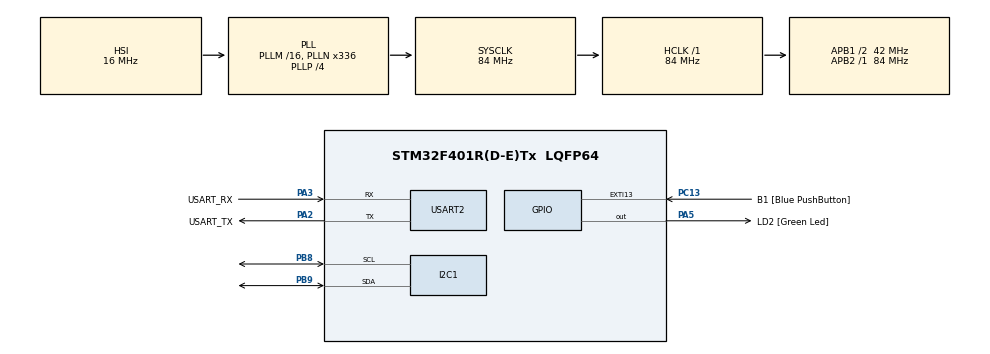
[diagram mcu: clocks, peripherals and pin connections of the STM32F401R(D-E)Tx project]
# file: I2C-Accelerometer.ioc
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Mcu.Family=STM32F4
Mcu.Name=STM32F401R(D-E)Tx
Mcu.Package=LQFP64
NVIC.PriorityGroup=NVIC_PRIORITYGROUP_0
PA13.GPIO_Label=TMS
PA13.Mode=Serial_Wire
PA13.Signal=SYS_JTMS-SWDIO
PA14.GPIO_Label=TCK
PA14.Mode=Serial_Wire
PA14.Signal=SYS_JTCK-SWCLK
PA2.GPIO_Label=USART_TX
PA2.GPIO_Mode=GPIO_MODE_AF_PP
PA2.GPIO_PuPd=GPIO_NOPULL
PA2.GPIO_Speed=GPIO_SPEED_FREQ_LOW
PA2.Mode=Asynchronous
PA2.Signal=USART2_TX
PA3.GPIO_Label=USART_RX
PA3.GPIO_Mode=GPIO_MODE_AF_PP
PA3.GPIO_PuPd=GPIO_NOPULL
PA3.GPIO_Speed=GPIO_SPEED_FREQ_LOW
PA3.Mode=Asynchronous
PA3.Signal=USART2_RX
PA5.GPIO_Label=LD2 [Green Led]
PA5.GPIO_Mode=GPIO_MODE_OUTPUT_PP
PA5.GPIO_PuPd=GPIO_NOPULL
PA5.GPIO_Speed=GPIO_SPEED_FREQ_LOW
PA5.Signal=GPIO_Output
PB3.GPIO_Label=SWO
PB3.Signal=SYS_JTDO-SWO
PB8.Mode=I2C
PB8.Signal=I2C1_SCL
PB9.Mode=I2C
PB9.Signal=I2C1_SDA
PC13-ANTI_TAMP.GPIO_Label=B1 [Blue PushButton]
PC13-ANTI_TAMP.GPIO_ModeDefaultEXTI=GPIO_MODE_IT_FALLING
PC13-ANTI_TAMP.GPIO_PuPd=GPIO_NOPULL
PC13-ANTI_TAMP.Signal=GPXTI13
PC14-OSC32_IN.Mode=LSE-External-Oscillator
PC14-OSC32_IN.Signal=RCC_OSC32_IN
PC15-OSC32_OUT.Mode=LSE-External-Oscillator
PC15-OSC32_OUT.Signal=RCC_OSC32_OUT
PH0\ -\ OSC_IN.Mode=HSE-External-Clock-Source
PH0\ -\ OSC_IN.Signal=RCC_OSC_IN
PH1\ -\ OSC_OUT.Mode=HSE-External-Clock-Source
PH1\ -\ OSC_OUT.Signal=RCC_OSC_OUT
ProjectManager.HeapSize=0x200
ProjectManager.StackSize=0x400
ProjectManager.TargetToolchain=STM32CubeIDE
RCC.48MHZClocksFreq_Value=48000000
RCC.AHBFreq_Value=84000000
RCC.APB1CLKDivider=RCC_HCLK_DIV2
RCC.APB1Freq_Value=42000000
RCC.APB1TimFreq_Value=84000000
RCC.APB2Freq_Value=84000000
RCC.APB2TimFreq_Value=84000000
RCC.CortexFreq_Value=84000000
RCC.HCLKFreq_Value=84000000
RCC.HSE_VALUE=8000000
RCC.HSI_VALUE=16000000
RCC.PLLN=336
RCC.PLLP=RCC_PLLP_DIV4
RCC.PLLQ=7
RCC.SYSCLKFreq_VALUE=84000000
RCC.SYSCLKSource=RCC_SYSCLKSOURCE_PLLCLK
RCC.VCOOutputFreq_Value=336000000
USART2.VirtualMode=VM_ASYNC
board=NUCLEO-F401RE

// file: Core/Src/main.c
/* USER CODE BEGIN Header */
/**
 ******************************************************************************
 * @file           : main.c
 * @brief          : Main program body
 ******************************************************************************
 * @attention
 *
 * <h2><center>&copy; Copyright (c) 2021 STMicroelectronics.
 * All rights reserved.</center></h2>
 *
 * This software component is licensed by ST under BSD 3-Clause license,
 * the "License"; You may not use this file except in compliance with the
 * License. You may obtain a copy of the License at:
 *                        opensource.org/licenses/BSD-3-Clause
 *
 ******************************************************************************
 */
/* USER CODE END Header */
#include "main.h"

/* USER CODE BEGIN Includes */
#include "stdio.h"
#include "string.h"
#include "stdint.h"
/* USER CODE END Includes */

/* USER CODE BEGIN PTD */
/**
 * @brief enumeration that contains the association between register and their address
 */
typedef enum {
	WHO_AM_I = 0x0F,
	TEMP_CFG_REG = 0x1F,
	CTRL_REG1 = 0x20,
	CTRL_REG4 = 0x23,
	OUT_X = 0x29,
	OUT_Y = 0x2B,
	OUT_Z = 0x2D,
	OUT_TEMP_L = 0x0C,
	OUT_TEMP_H = 0x0D
} Reg;

/**
 * @brief data structure that contains a sample from the accelerometer
 */
typedef struct {
	float acc_x;
	float acc_y;
	float acc_z;
	float acc_t;
} AccelData;
/* USER CODE END PTD */

/* USER CODE BEGIN PD */
#define accel_addr (0b0101000<<1) // address of the LIS2DE (shift by one for the R/W bit)
#define SELF_TEST_MIN_CHANGE 50		// minimum change of the acceleration
#define SELF_TEST_MAX_CHANGE 1800	// maximum change of the acceleration
/* USER CODE END PD */

I2C_HandleTypeDef hi2c1;

UART_HandleTypeDef huart2;

void SystemClock_Config(void);
static void MX_GPIO_Init(void);
static void MX_USART2_UART_Init(void);
static void MX_I2C1_Init(void);
/* USER CODE BEGIN PFP */
HAL_StatusTypeDef init();
HAL_StatusTypeDef sample(AccelData *accelData);
HAL_StatusTypeDef writeReg(Reg regAddress, int8_t data);
HAL_StatusTypeDef readReg(Reg regAddress, uint8_t *data, int nData);
float convertToFloat(int8_t msb, uint8_t lsb);
float convertToAcc(int8_t data);
void printSample(AccelData accelData);
/* USER CODE END PFP */

int main(void) {
	/* USER CODE BEGIN 1 */
	AccelData accelData;
	uint8_t data;
	char str[64];
	/* USER CODE END 1 */

	/* MCU Configuration--------------------------------------------------------*/

	/* Reset of all peripherals, Initializes the Flash interface and the Systick. */
	HAL_Init();

	/* Configure the system clock */
	SystemClock_Config();

	/* Initialize all configured peripherals */
	MX_GPIO_Init();
	MX_USART2_UART_Init();
	MX_I2C1_Init();
	/* USER CODE BEGIN 2 */
	if (init() == HAL_OK) {
		strcpy(str, "Accelerometer initialized!\r\n");
		HAL_UART_Transmit(&huart2, str, strlen(str), 1000);
	}

	// reading the who_am_i register to check if it's the correct sensor
	if (readReg(WHO_AM_I, &data, 1) == HAL_OK) {
		sprintf(str, "CORRECT who_am_i= %d\r\n", data);
		HAL_UART_Transmit(&huart2, str, strlen(str), 1000);
	} else {
		sprintf(str, "ERROR: who_am_i= %d\r\n", data);
		HAL_UART_Transmit(&huart2, str, strlen(str), 1000);
		return -1;
	}
	/* USER CODE END 2 */

	/* Infinite loop */
	/* USER CODE BEGIN WHILE */
	while (1) {
		// if sampled correctly than print the sample over serial
		if (sample(&accelData) == HAL_OK) {
			printSample(accelData);
		} else {
			strcpy(str, "Error sampling accelerometer\r\n");
			HAL_UART_Transmit(&huart2, str, strlen(str), 100);
		}

		HAL_Delay(1000);
		/* USER CODE END WHILE */

	}
}

void SystemClock_Config(void) {
	RCC_OscInitTypeDef RCC_OscInitStruct = { 0 };
	RCC_ClkInitTypeDef RCC_ClkInitStruct = { 0 };

	/** Configure the main internal regulator output voltage
	 */
	__HAL_RCC_PWR_CLK_ENABLE();
	__HAL_PWR_VOLTAGESCALING_CONFIG(PWR_REGULATOR_VOLTAGE_SCALE2);
	/** Initializes the RCC Oscillators according to the specified parameters
	 * in the RCC_OscInitTypeDef structure.
	 */
	RCC_OscInitStruct.OscillatorType = RCC_OSCILLATORTYPE_HSI;
	RCC_OscInitStruct.HSIState = RCC_HSI_ON;
	RCC_OscInitStruct.HSICalibrationValue = RCC_HSICALIBRATION_DEFAULT;
	RCC_OscInitStruct.PLL.PLLState = RCC_PLL_ON;
	RCC_OscInitStruct.PLL.PLLSource = RCC_PLLSOURCE_HSI;
	RCC_OscInitStruct.PLL.PLLM = 16;
	RCC_OscInitStruct.PLL.PLLN = 336;
	RCC_OscInitStruct.PLL.PLLP = RCC_PLLP_DIV4;
	RCC_OscInitStruct.PLL.PLLQ = 7;
	if (HAL_RCC_OscConfig(&RCC_OscInitStruct) != HAL_OK) {
		Error_Handler();
	}
	/** Initializes the CPU, AHB and APB buses clocks
	 */
	RCC_ClkInitStruct.ClockType = RCC_CLOCKTYPE_HCLK | RCC_CLOCKTYPE_SYSCLK
			| RCC_CLOCKTYPE_PCLK1 | RCC_CLOCKTYPE_PCLK2;
	RCC_ClkInitStruct.SYSCLKSource = RCC_SYSCLKSOURCE_PLLCLK;
	RCC_ClkInitStruct.AHBCLKDivider = RCC_SYSCLK_DIV1;
	RCC_ClkInitStruct.APB1CLKDivider = RCC_HCLK_DIV2;
	RCC_ClkInitStruct.APB2CLKDivider = RCC_HCLK_DIV1;

	if (HAL_RCC_ClockConfig(&RCC_ClkInitStruct, FLASH_LATENCY_2) != HAL_OK) {
		Error_Handler();
	}
}

static void MX_I2C1_Init(void) {

	hi2c1.Instance = I2C1;
	hi2c1.Init.ClockSpeed = 100000;
	hi2c1.Init.DutyCycle = I2C_DUTYCYCLE_2;
	hi2c1.Init.OwnAddress1 = 0;
	hi2c1.Init.AddressingMode = I2C_ADDRESSINGMODE_7BIT;
	hi2c1.Init.DualAddressMode = I2C_DUALADDRESS_DISABLE;
	hi2c1.Init.OwnAddress2 = 0;
	hi2c1.Init.GeneralCallMode = I2C_GENERALCALL_DISABLE;
	hi2c1.Init.NoStretchMode = I2C_NOSTRETCH_DISABLE;
	if (HAL_I2C_Init(&hi2c1) != HAL_OK) {
		Error_Handler();
	}

}

static void MX_USART2_UART_Init(void) {

	huart2.Instance = USART2;
	huart2.Init.BaudRate = 115200;
	huart2.Init.WordLength = UART_WORDLENGTH_8B;
	huart2.Init.StopBits = UART_STOPBITS_1;
	huart2.Init.Parity = UART_PARITY_NONE;
	huart2.Init.Mode = UART_MODE_TX_RX;
	huart2.Init.HwFlowCtl = UART_HWCONTROL_NONE;
	huart2.Init.OverSampling = UART_OVERSAMPLING_16;
	if (HAL_UART_Init(&huart2) != HAL_OK) {
		Error_Handler();
	}

}

static void MX_GPIO_Init(void) {
	GPIO_InitTypeDef GPIO_InitStruct = { 0 };

	/* GPIO Ports Clock Enable */
	__HAL_RCC_GPIOC_CLK_ENABLE();
	__HAL_RCC_GPIOH_CLK_ENABLE();
	__HAL_RCC_GPIOA_CLK_ENABLE();
	__HAL_RCC_GPIOB_CLK_ENABLE();

	/*Configure GPIO pin Output Level */
	HAL_GPIO_WritePin(LD2_GPIO_Port, LD2_Pin, GPIO_PIN_RESET);

	/*Configure GPIO pin : B1_Pin */
	GPIO_InitStruct.Pin = B1_Pin;
	GPIO_InitStruct.Mode = GPIO_MODE_IT_FALLING;
	GPIO_InitStruct.Pull = GPIO_NOPULL;
	HAL_GPIO_Init(B1_GPIO_Port, &GPIO_InitStruct);

	/*Configure GPIO pin : LD2_Pin */
	GPIO_InitStruct.Pin = LD2_Pin;
	GPIO_InitStruct.Mode = GPIO_MODE_OUTPUT_PP;
	GPIO_InitStruct.Pull = GPIO_NOPULL;
	GPIO_InitStruct.Speed = GPIO_SPEED_FREQ_LOW;
	HAL_GPIO_Init(LD2_GPIO_Port, &GPIO_InitStruct);

}

/* USER CODE BEGIN 4 */

/**
 * @brief initializes the accelerometer
 * @return HAL_OK if sensor is been configured, HAL_ERROR otherwise
 */
HAL_StatusTypeDef init() {
	// enabling normal mode (1Hz) and enabling X,Y,Z outputs
	if (writeReg(CTRL_REG1, 0b00010111) != HAL_OK) {
		return HAL_ERROR;
	}

	// setting the +/- 2g FSR, Self Test disabled
	if (writeReg(CTRL_REG4, 0b00000000) != HAL_OK) {
		return HAL_ERROR;
	}

	// enabling the temperature sensor
	if (writeReg(TEMP_CFG_REG, 0b11000000) != HAL_OK) {
		return HAL_ERROR;
	}

	return HAL_OK;
}

/**
 * @brief converts a byte into the acceleration in g
 * @param data the byte read from the accelerometer
 * @return the float signed value of the acceleration in g
 */
float convertToAcc(int8_t data) {
	// multiplying the read data by the FSR and dividing by 2^bytes=256
	return (float) data * 4 / 256.0;
}

/**
 * @brief converts two bytes in a float value
 * @param msb the most significant byte of the temperature
 * @param lsb the least significant byte of the temperature
 * @return the float signed value of the acceleration in g
 */
float convertToFloat(int8_t msb, uint8_t lsb) {
	// "concatenates" the two bytes and then divides them by 2^(decimal places), that is 256
	// incremented by 25 (doubt on incrementing it by 22.5) because seems the offset used
	return ((float) (((int16_t) (msb) << 8) | lsb)) / 256.0 + 22.5;
}

/**
 * @brief writes in the register passed the data
 * @param regAddress the address on which we want to write
 * @param data the byte that will be written in the register
 * @return HAL_OK if sensor acknowledged, HAL_ERROR otherwise
 */
HAL_StatusTypeDef writeReg(Reg regAddress, int8_t data) {
	uint8_t datar[2] = { regAddress, data };
	return HAL_I2C_Master_Transmit(&hi2c1, accel_addr, datar, 2, 1000);
}

/**
 * @brief writes in the register passed the data
 * @param regAddress the address on which we want to read
 * @param data the pointer to the array of bytes into we will store the read data
 * @return HAL_OK if sensor acknowledged, HAL_ERROR otherwise
 */
HAL_StatusTypeDef readReg(Reg regAddress, uint8_t *data, int nData) {
	HAL_StatusTypeDef ret = HAL_I2C_Master_Transmit(&hi2c1, accel_addr,
			&regAddress, 1, 1000);
	if (ret == HAL_OK) {
		return HAL_I2C_Master_Receive(&hi2c1, accel_addr | 0b1, data, nData,
				1000);
	} else {
		return ret;
	}
}

/**
 * @brief samples the accelerometer
 * @param accelData the structure to update
 * @return HAL_OK if new data has been sampled, HAL_ERROR otherwise
 */
HAL_StatusTypeDef sample(AccelData *accelData) {
	AccelData tempData;
	uint8_t data, data2;

	// sampling X value
	if (readReg(OUT_X, &data, 1) == HAL_OK) {
		tempData.acc_x = convertToAcc(data);
	} else {
		return HAL_ERROR;
	}

	// sampling Y value
	if (readReg(OUT_Y, &data, 1) == HAL_OK) {
		tempData.acc_y = convertToAcc(data);
	} else {
		return HAL_ERROR;
	}

	// sampling Z value
	if (readReg(OUT_Z, &data, 1) == HAL_OK) {
		tempData.acc_z = convertToAcc(data);
	} else {
		return HAL_ERROR;
	}

	// sampling TEMP value
	writeReg(CTRL_REG4, 0b10000000); // enabling bit to retrieve temperature
	if (readReg(OUT_TEMP_H, &data, 1) == HAL_OK) {
		if (readReg(OUT_TEMP_L, &data2, 1) == HAL_OK) {
			tempData.acc_t = convertToFloat(data, data2);
		} else {
			return HAL_ERROR;
		}
	} else {
		return HAL_ERROR;
	}
	writeReg(CTRL_REG4, 0b00000000); // disabling bit to retrieve acceleration

	memcpy(accelData, &tempData, sizeof(AccelData));
	return HAL_OK;
}

/**
 * @brief prints over the serial communication the sample passed
 * @param accelData the structure to print
 */
void printSample(AccelData accelData) {
	char str[64];
	int len = sprintf(str, "X: %+.3f\r\nY: %+.3f\r\nZ: %+.3f\r\n\n",
			accelData.acc_x, accelData.acc_y, accelData.acc_z);
	HAL_UART_Transmit(&huart2, str, len, 100);
}
/* USER CODE END 4 */

void Error_Handler(void) {
	__disable_irq();
	while (1) {
	}
}

/************************ (C) COPYRIGHT STMicroelectronics *****END OF FILE****/
